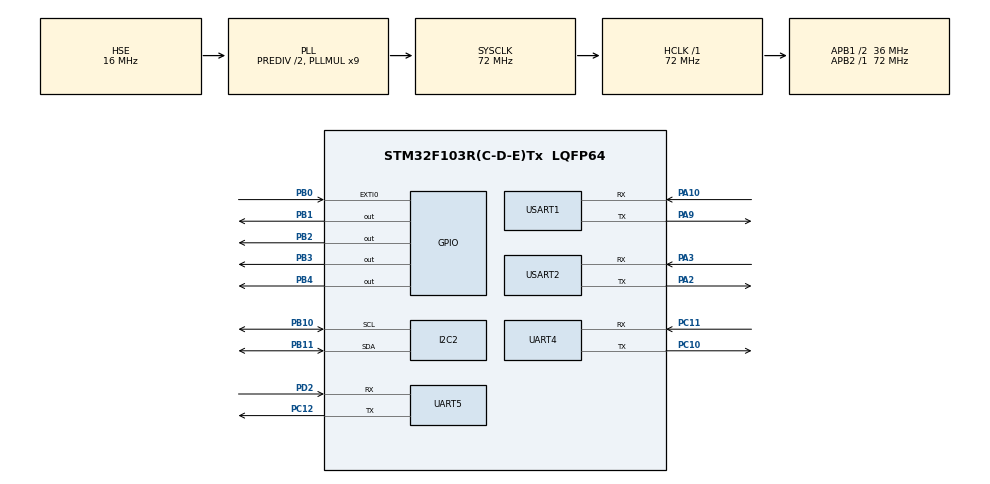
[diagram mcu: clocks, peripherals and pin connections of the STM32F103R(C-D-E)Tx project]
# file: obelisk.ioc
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Mcu.Family=STM32F1
Mcu.Name=STM32F103R(C-D-E)Tx
Mcu.Package=LQFP64
NVIC.EXTI0_IRQn=true\:0\:0\:false\:false\:true\:true\:true\:true
NVIC.I2C2_ER_IRQn=true\:0\:0\:false\:false\:true\:true\:true\:true
NVIC.I2C2_EV_IRQn=true\:0\:0\:false\:false\:true\:true\:true\:true
NVIC.PriorityGroup=NVIC_PRIORITYGROUP_4
NVIC.RCC_IRQn=true\:0\:0\:false\:false\:true\:true\:false\:true
NVIC.RTC_IRQn=true\:0\:0\:false\:false\:true\:true\:true\:true
NVIC.TIM6_IRQn=true\:0\:0\:false\:false\:true\:true\:true\:true
NVIC.TIM7_IRQn=true\:0\:0\:false\:false\:true\:true\:true\:true
NVIC.UART4_IRQn=true\:0\:0\:false\:false\:true\:true\:true\:true
NVIC.UART5_IRQn=true\:0\:0\:false\:false\:true\:true\:true\:true
NVIC.USART1_IRQn=true\:0\:0\:false\:false\:true\:true\:true\:true
NVIC.USART2_IRQn=true\:0\:0\:false\:false\:true\:true\:true\:true
PA10.Mode=Asynchronous
PA10.Signal=USART1_RX
PA13.Mode=Serial_Wire
PA13.Signal=SYS_JTMS-SWDIO
PA14.Mode=Serial_Wire
PA14.Signal=SYS_JTCK-SWCLK
PA2.Mode=Asynchronous
PA2.Signal=USART2_TX
PA3.Mode=Asynchronous
PA3.Signal=USART2_RX
PA9.Mode=Asynchronous
PA9.Signal=USART1_TX
PB0.Signal=GPXTI0
PB1.Signal=GPIO_Output
PB10.Mode=I2C
PB10.Signal=I2C2_SCL
PB11.Mode=I2C
PB11.Signal=I2C2_SDA
PB2.Signal=GPIO_Output
PB3.Signal=GPIO_Output
PB4.Signal=GPIO_Output
PC10.Mode=Asynchronous
PC10.Signal=UART4_TX
PC11.Mode=Asynchronous
PC11.Signal=UART4_RX
PC12.Mode=Asynchronous
PC12.Signal=UART5_TX
PD0-OSC_IN.Mode=HSE-External-Oscillator
PD0-OSC_IN.Signal=RCC_OSC_IN
PD1-OSC_OUT.Mode=HSE-External-Oscillator
PD1-OSC_OUT.Signal=RCC_OSC_OUT
PD2.Mode=Asynchronous
PD2.Signal=UART5_RX
ProjectManager.HeapSize=0x200
ProjectManager.StackSize=0x400
ProjectManager.TargetToolchain=Makefile
RCC.AHBFreq_Value=72000000
RCC.APB1CLKDivider=RCC_HCLK_DIV2
RCC.APB1Freq_Value=36000000
RCC.APB1TimFreq_Value=72000000
RCC.APB2Freq_Value=72000000
RCC.APB2TimFreq_Value=72000000
RCC.HCLKFreq_Value=72000000
RCC.HSEDivPLL=RCC_HSE_PREDIV_DIV2
RCC.HSE_VALUE=16000000
RCC.PLLMUL=RCC_PLL_MUL9
RCC.PLLSourceVirtual=RCC_PLLSOURCE_HSE
RCC.RTCClockSelection=RCC_RTCCLKSOURCE_HSE_DIV128
RCC.SYSCLKFreq_VALUE=72000000
RCC.SYSCLKSource=RCC_SYSCLKSOURCE_PLLCLK
RCC.USBFreq_Value=72000000
TIM6.Prescaler=2
TIM7.Prescaler=2
UART4.VirtualMode=Asynchronous
UART5.VirtualMode=Asynchronous
USART1.VirtualMode=VM_ASYNC
USART2.VirtualMode=VM_ASYNC
VP_CRC_VS_CRC.Mode=CRC_Activate
VP_RTC_VS_RTC_Activate.Mode=RTC_Enabled
VP_RTC_VS_RTC_Calendar.Mode=RTC_Calendar
VP_TIM6_VS_ClockSourceINT.Mode=Enable_Timer
VP_TIM7_VS_ClockSourceINT.Mode=Enable_Timer
board=custom

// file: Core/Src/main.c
/* USER CODE BEGIN Header */
/**
  ******************************************************************************
  * @file           : main.c
  * @brief          : Main program body
  ******************************************************************************
  * @attention
  *
  * Copyright (c) 2025 STMicroelectronics.
  * All rights reserved.
  *
  * This software is licensed under terms that can be found in the LICENSE file
  * in the root directory of this software component.
  * If no LICENSE file comes with this software, it is provided AS-IS.
  *
  ******************************************************************************
  */
/* USER CODE END Header */
#include "main.h"
#include "crc.h"
#include "i2c.h"
#include "rtc.h"
#include "tim.h"
#include "usart.h"
#include "gpio.h"

/* USER CODE BEGIN Includes */

#include <string.h>
#include "controller.h"
#include "serial.h"

/* USER CODE END Includes */

/* USER CODE BEGIN PV */

#define RAPI_UART huart4
#define OCPP_UART huart1

static Controller controller = {0};

void
HAL_UART_RxCpltCallback(UART_HandleTypeDef *huart)
{
    if (huart->Instance == controller.server.uart.huart->Instance)
    {
        ctrl_uart_usart_callback(&controller.server.uart);
    }
}

void
HAL_TIM_PeriodElapsedCallback(TIM_HandleTypeDef *htim)
{
	if (htim->Instance == controller.server.uart.tim->Instance)
	{
        ctrl_uart_timer_callback(&controller.server.uart);
	}
}

/* USER CODE END PV */

void SystemClock_Config(void);

/* USER CODE BEGIN 0 */

#define DEBUG

#define TIMER_IMPL
#include "timer.h"

/* USER CODE END 0 */

int main(void)
{

  /* MCU Configuration--------------------------------------------------------*/

  /* Reset of all peripherals, Initializes the Flash interface and the Systick. */
  HAL_Init();

  /* Configure the system clock */
  SystemClock_Config();

  /* Initialize all configured peripherals */
  MX_GPIO_Init();
  MX_I2C2_Init();
  MX_RTC_Init();
  MX_UART4_Init();
  MX_UART5_Init();
  MX_USART1_UART_Init();
  MX_USART2_UART_Init();
  MX_TIM6_Init();
  MX_TIM7_Init();
  MX_CRC_Init();
  /* USER CODE BEGIN 2 */

      HAL_GPIO_WritePin(BUZZER, GPIO_PIN_SET);

#ifdef DEBUG
  uprintf(&OCPP_UART, 100, 20, "BOOTING UP\n");
#endif

  HAL_TIM_Base_Start_IT(&htim6);
  HAL_TIM_Base_Start_IT(&htim7);

    HAL_GPIO_WritePin(ERROR_LED, GPIO_PIN_SET);
/*
 *                 1111111111
 *       01234567890123456789
 *      +--------------------+
 *     0|Wed         06.11.24|
 *     1|      03:25:48      |
 *     2|SNOW -08*        22*|
 *     3|ACOS FLOAT  12.11.24|
 *      +--------------------+
 *
 */

    HAL_GPIO_WritePin(ERROR_LED, GPIO_PIN_RESET);
    HAL_GPIO_WritePin(STATUS_LED, GPIO_PIN_SET);
    controller_initialize
    (
        &controller,
        &OCPP_UART,
        &htim6,
        &hrtc, &hi2c2
    );
    HAL_GPIO_WritePin(BUZZER, GPIO_PIN_RESET);

    static Timer led_tim = { 0 };
    timer_set(&led_tim, 1000, true);
    timer_start(&led_tim);

  /* USER CODE END 2 */

  /* Infinite loop */
  /* USER CODE BEGIN WHILE */
    while (1)
    {
        controller_update(&controller);
        if (timer_timeout(&led_tim))
        {
            HAL_GPIO_TogglePin(STATUS_LED);
        }
    /* USER CODE END WHILE */

    }
}

void SystemClock_Config(void)
{
  RCC_OscInitTypeDef RCC_OscInitStruct = {0};
  RCC_ClkInitTypeDef RCC_ClkInitStruct = {0};
  RCC_PeriphCLKInitTypeDef PeriphClkInit = {0};

  /** Initializes the RCC Oscillators according to the specified parameters
  * in the RCC_OscInitTypeDef structure.
  */
  RCC_OscInitStruct.OscillatorType = RCC_OSCILLATORTYPE_HSE;
  RCC_OscInitStruct.HSEState = RCC_HSE_ON;
  RCC_OscInitStruct.HSEPredivValue = RCC_HSE_PREDIV_DIV2;
  RCC_OscInitStruct.HSIState = RCC_HSI_ON;
  RCC_OscInitStruct.PLL.PLLState = RCC_PLL_ON;
  RCC_OscInitStruct.PLL.PLLSource = RCC_PLLSOURCE_HSE;
  RCC_OscInitStruct.PLL.PLLMUL = RCC_PLL_MUL9;
  if (HAL_RCC_OscConfig(&RCC_OscInitStruct) != HAL_OK)
  {
    Error_Handler();
  }

  /** Initializes the CPU, AHB and APB buses clocks
  */
  RCC_ClkInitStruct.ClockType = RCC_CLOCKTYPE_HCLK|RCC_CLOCKTYPE_SYSCLK
                              |RCC_CLOCKTYPE_PCLK1|RCC_CLOCKTYPE_PCLK2;
  RCC_ClkInitStruct.SYSCLKSource = RCC_SYSCLKSOURCE_PLLCLK;
  RCC_ClkInitStruct.AHBCLKDivider = RCC_SYSCLK_DIV1;
  RCC_ClkInitStruct.APB1CLKDivider = RCC_HCLK_DIV2;
  RCC_ClkInitStruct.APB2CLKDivider = RCC_HCLK_DIV1;

  if (HAL_RCC_ClockConfig(&RCC_ClkInitStruct, FLASH_LATENCY_2) != HAL_OK)
  {
    Error_Handler();
  }
  PeriphClkInit.PeriphClockSelection = RCC_PERIPHCLK_RTC;
  PeriphClkInit.RTCClockSelection = RCC_RTCCLKSOURCE_HSE_DIV128;
  if (HAL_RCCEx_PeriphCLKConfig(&PeriphClkInit) != HAL_OK)
  {
    Error_Handler();
  }
}

/* USER CODE BEGIN 4 */

void
Error_Handler_with_err(const char * err)
{
  #ifndef NODEBUG
  uprintf(&OCPP_UART, 1000, 256, "ERROR: %s\n", err);
  #endif
  Error_Handler();
}

/* USER CODE END 4 */

void Error_Handler(void)
{
  /* USER CODE BEGIN Error_Handler_Debug */
  /* User can add his own implementation to report the HAL error return state */
    HAL_GPIO_WritePin(ERROR_LED, GPIO_PIN_SET);
	// rapi_deinit(&rapi);
	// ocpp_deinit(&ocpp);
  __disable_irq();
  while (1)
  {
  }
  /* USER CODE END Error_Handler_Debug */
}
